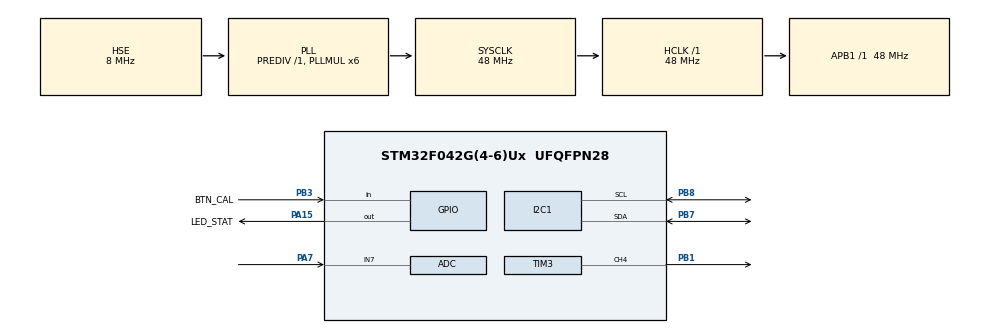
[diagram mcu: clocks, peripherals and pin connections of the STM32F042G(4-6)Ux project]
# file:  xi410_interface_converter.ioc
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I2C1.Timing=0x20303E5D
IWDG.Prescaler=IWDG_PRESCALER_128
IWDG.Reload=3125
IWDG.Window=3125
Mcu.Family=STM32F0
Mcu.Name=STM32F042G(4-6)Ux
Mcu.Package=UFQFPN28
PA13.Mode=Serial_Wire
PA13.Signal=SYS_SWDIO
PA14.Mode=Serial_Wire
PA14.Signal=SYS_SWCLK
PA15.GPIO_Label=LED_STAT
PA15.GPIO_ModeDefaultOutputPP=GPIO_MODE_OUTPUT_PP
PA15.GPIO_PuPd=GPIO_NOPULL
PA15.Signal=GPIO_Output
PA7.Mode=IN7
PA7.Signal=ADC_IN7
PB1.Signal=S_TIM3_CH4
PB3.GPIO_Label=BTN_CAL
PB3.GPIO_PuPd=GPIO_PULLUP
PB3.Signal=GPIO_Input
PB7.Mode=I2C
PB7.Signal=I2C1_SDA
PB8.Mode=I2C
PB8.Signal=I2C1_SCL
PF0-OSC_IN.Mode=HSE-External-Oscillator
PF0-OSC_IN.Signal=RCC_OSC_IN
PF1-OSC_OUT.Mode=HSE-External-Oscillator
PF1-OSC_OUT.Signal=RCC_OSC_OUT
ProjectManager.HeapSize=0x200
ProjectManager.StackSize=0x400
ProjectManager.TargetToolchain=Makefile
RCC.AHBFreq_Value=48000000
RCC.APB1Freq_Value=48000000
RCC.APB1TimFreq_Value=48000000
RCC.HCLKFreq_Value=48000000
RCC.I2c1ClockSelection=RCC_I2C1CLKSOURCE_SYSCLK
RCC.PLLMUL=RCC_PLL_MUL6
RCC.PLLSourceVirtual=RCC_PLLSOURCE_HSE
RCC.SYSCLKFreq_VALUE=48000000
RCC.SYSCLKSource=RCC_SYSCLKSOURCE_PLLCLK
SH.S_TIM3_CH4.0=TIM3_CH4,PWM Generation4 CH4
TIM3.AutoReloadPreload=TIM_AUTORELOAD_PRELOAD_ENABLE
TIM3.Channel-PWM\ Generation4\ CH4=TIM_CHANNEL_4
TIM3.ClockDivision=TIM_CLOCKDIVISION_DIV1
TIM3.OCFastMode_PWM-PWM\ Generation4\ CH4=TIM_OCFAST_DISABLE
TIM3.OCPolarity_4=TIM_OCPOLARITY_HIGH
TIM3.Period=1000
TIM3.Prescaler=47
TIM3.Pulse-PWM\ Generation4\ CH4=0
VP_IWDG_VS_IWDG.Mode=IWDG_Activate
board=custom

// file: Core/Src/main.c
/* USER CODE BEGIN Header */
/**
  ******************************************************************************
  * @file           : main.c
  * @brief          : Main program body
  ******************************************************************************
  * @attention
  *
  * Copyright (c) 2024 STMicroelectronics.
  * All rights reserved.
  *
  * This software is licensed under terms that can be found in the LICENSE file
  * in the root directory of this software component.
  * If no LICENSE file comes with this software, it is provided AS-IS.
  *
  ******************************************************************************
  */
/* USER CODE END Header */
#include "main.h"

ADC_HandleTypeDef hadc;

I2C_HandleTypeDef hi2c1;

/* USER CODE BEGIN PV */
ADT74X0 temp_sensor;
/* USER CODE END PV */

void SystemClock_Config(void);
static void MX_GPIO_Init(void);
static void MX_ADC_Init(void);
static void MX_I2C1_Init(void);
static void MX_TIM3_Init(void);
static void MX_IWDG_Init(void);
/* USER CODE BEGIN PFP */
static uint32_t isCalibButtonPressed();
/* USER CODE END PFP */

/* USER CODE BEGIN 0 */
enum ModeEnumTypeDef{
  MODE_RUN,
  MODE_CALIBRATION
} current_mode;
//ModeEnumTypeDef  = MODE_RUN;
//current_mode = MODE_RUN;
/* USER CODE END 0 */

int main(void)
{
  /* USER CODE BEGIN 1 */
  float current_temp = 0.0;
  uint32_t i = 0;
  uint32_t errorCount = 0;
  /* USER CODE END 1 */

  /* MCU Configuration--------------------------------------------------------*/

  /* Reset of all peripherals, Initializes the Flash interface and the Systick. */
  HAL_Init();

  /* Configure the system clock */
  SystemClock_Config();

  /* Initialize all configured peripherals */
  MX_GPIO_Init();
  MX_ADC_Init();
  MX_I2C1_Init();
  MX_TIM3_Init();
  MX_IWDG_Init();
  /* USER CODE BEGIN 2 */
  // if(isCalibButtonPressed())
  // {
  //   //prepare
  //   led_on();
  //   HAL_Delay(3000); //2s delay to indicate calibration mode
  //   led_off();

  //   while(!isCalibButtonPressed()) //the second press saves settings to FLASH
  //   {
  //     led_blink(300);
  //   }
  //   //save variable to FLASH

  for(i=0;i<3;i++)
  {
    led_blink(100);
  }

  init_pwm();
  if(isCalibButtonPressed())
  {
    run_calibration();
  }

  setDutyCycle(0);

  temp_sensor.adti2c = &hi2c1; // Your I2C Handler
  ADT74x0_Init(&temp_sensor, ADT74X0_DEVICE_ADDR); // I2C address depends of A0 and A1 pins
	ADT74x0_Reset(&temp_sensor); // Optional
	ADT74x0_SetResolution(&temp_sensor, ADT74X0_16BITS); // Put the device in 16 bits resolution

  //HAL_Delay(100);
  if(ADT74x0_Ready((ADT74X0 *)&temp_sensor))
  {
    ADT74x0_ReadTemp(&temp_sensor);
  }

  // }
  /* USER CODE END 2 */

  /* Infinite loop */
  while (1)
  {

    /* USER CODE BEGIN 3 */
    //LL_IWDG_ReloadCounter()
    LL_IWDG_ReloadCounter(IWDG);
    led_blink(1000);

    if(ADT74x0_Ready((ADT74X0 *)&temp_sensor))
    {
      if (ADT74x0_ReadTemp(&temp_sensor) != HAL_OK) {
	      //Error_Handler();
        //blink 10 times and reset
        for(i=0;i<10;i++)
        {
          led_blink(250);
        }
        //reset
        NVIC_SystemReset();
	    }
      else
      {
        //current_temp = temp_sensor.deg_data;
        //setDutyCycle(ADT74x0_TempToPWM(&temp_sensor));
        //-30..50degC
        //encoded in 32bits
        LL_TIM_OC_SetCompareCH4(PWM_TIMER,ADT74x0_TempToCounts(&temp_sensor)); //32bit value
      }

      //buff[0] = (current_temp>>8)&0xFF;
      //buff[1] = current_temp & 0xFF;
      //buff[2] = CRC8((uint8_t *)&buff,2); //checksum calculation
      //buff[3] = '\r';
      //CDC_Transmit_FS((uint8_t *)&buff,4);
    }
    else
    {
      errorCount++;
      led_blink(250);
    }

    if(errorCount>=10)
    {
      NVIC_SystemReset();
    }

    if(isCalibButtonPressed())
    {
      LL_mDelay(100);
      if(isCalibButtonPressed())
      {
        NVIC_SystemReset(); //will start with calibration on the next restart
        //run_calibration();
      }
    }

    //HAL_Delay(1000);
  }
  /* USER CODE END 3 */
}

void SystemClock_Config(void)
{
  RCC_OscInitTypeDef RCC_OscInitStruct = {0};
  RCC_ClkInitTypeDef RCC_ClkInitStruct = {0};
  RCC_PeriphCLKInitTypeDef PeriphClkInit = {0};

  /** Initializes the RCC Oscillators according to the specified parameters
  * in the RCC_OscInitTypeDef structure.
  */
  RCC_OscInitStruct.OscillatorType = RCC_OSCILLATORTYPE_HSI14|RCC_OSCILLATORTYPE_LSI
                              |RCC_OSCILLATORTYPE_HSE;
  RCC_OscInitStruct.HSEState = RCC_HSE_ON;
  RCC_OscInitStruct.HSI14State = RCC_HSI14_ON;
  RCC_OscInitStruct.HSI14CalibrationValue = 16;
  RCC_OscInitStruct.LSIState = RCC_LSI_ON;
  RCC_OscInitStruct.PLL.PLLState = RCC_PLL_ON;
  RCC_OscInitStruct.PLL.PLLSource = RCC_PLLSOURCE_HSE;
  RCC_OscInitStruct.PLL.PLLMUL = RCC_PLL_MUL6;
  RCC_OscInitStruct.PLL.PREDIV = RCC_PREDIV_DIV1;
  if (HAL_RCC_OscConfig(&RCC_OscInitStruct) != HAL_OK)
  {
    Error_Handler();
  }

  /** Initializes the CPU, AHB and APB buses clocks
  */
  RCC_ClkInitStruct.ClockType = RCC_CLOCKTYPE_HCLK|RCC_CLOCKTYPE_SYSCLK
                              |RCC_CLOCKTYPE_PCLK1;
  RCC_ClkInitStruct.SYSCLKSource = RCC_SYSCLKSOURCE_PLLCLK;
  RCC_ClkInitStruct.AHBCLKDivider = RCC_SYSCLK_DIV1;
  RCC_ClkInitStruct.APB1CLKDivider = RCC_HCLK_DIV1;

  if (HAL_RCC_ClockConfig(&RCC_ClkInitStruct, FLASH_LATENCY_1) != HAL_OK)
  {
    Error_Handler();
  }
  PeriphClkInit.PeriphClockSelection = RCC_PERIPHCLK_I2C1;
  PeriphClkInit.I2c1ClockSelection = RCC_I2C1CLKSOURCE_SYSCLK;
  if (HAL_RCCEx_PeriphCLKConfig(&PeriphClkInit) != HAL_OK)
  {
    Error_Handler();
  }
}

static void MX_ADC_Init(void)
{

  ADC_ChannelConfTypeDef sConfig = {0};

  /** Configure the global features of the ADC (Clock, Resolution, Data Alignment and number of conversion)
  */
  hadc.Instance = ADC1;
  hadc.Init.ClockPrescaler = ADC_CLOCK_ASYNC_DIV1;
  hadc.Init.Resolution = ADC_RESOLUTION_12B;
  hadc.Init.DataAlign = ADC_DATAALIGN_RIGHT;
  hadc.Init.ScanConvMode = ADC_SCAN_DIRECTION_FORWARD;
  hadc.Init.EOCSelection = ADC_EOC_SINGLE_CONV;
  hadc.Init.LowPowerAutoWait = DISABLE;
  hadc.Init.LowPowerAutoPowerOff = DISABLE;
  hadc.Init.ContinuousConvMode = DISABLE;
  hadc.Init.DiscontinuousConvMode = DISABLE;
  hadc.Init.ExternalTrigConv = ADC_SOFTWARE_START;
  hadc.Init.ExternalTrigConvEdge = ADC_EXTERNALTRIGCONVEDGE_NONE;
  hadc.Init.DMAContinuousRequests = DISABLE;
  hadc.Init.Overrun = ADC_OVR_DATA_PRESERVED;
  if (HAL_ADC_Init(&hadc) != HAL_OK)
  {
    Error_Handler();
  }

  /** Configure for the selected ADC regular channel to be converted.
  */
  sConfig.Channel = ADC_CHANNEL_7;
  sConfig.Rank = ADC_RANK_CHANNEL_NUMBER;
  sConfig.SamplingTime = ADC_SAMPLETIME_1CYCLE_5;
  if (HAL_ADC_ConfigChannel(&hadc, &sConfig) != HAL_OK)
  {
    Error_Handler();
  }

}

static void MX_I2C1_Init(void)
{

  hi2c1.Instance = I2C1;
  hi2c1.Init.Timing = 0x20303E5D;
  hi2c1.Init.OwnAddress1 = 0;
  hi2c1.Init.AddressingMode = I2C_ADDRESSINGMODE_7BIT;
  hi2c1.Init.DualAddressMode = I2C_DUALADDRESS_DISABLE;
  hi2c1.Init.OwnAddress2 = 0;
  hi2c1.Init.OwnAddress2Masks = I2C_OA2_NOMASK;
  hi2c1.Init.GeneralCallMode = I2C_GENERALCALL_DISABLE;
  hi2c1.Init.NoStretchMode = I2C_NOSTRETCH_DISABLE;
  if (HAL_I2C_Init(&hi2c1) != HAL_OK)
  {
    Error_Handler();
  }

  /** Configure Analogue filter
  */
  if (HAL_I2CEx_ConfigAnalogFilter(&hi2c1, I2C_ANALOGFILTER_ENABLE) != HAL_OK)
  {
    Error_Handler();
  }

  /** Configure Digital filter
  */
  if (HAL_I2CEx_ConfigDigitalFilter(&hi2c1, 0) != HAL_OK)
  {
    Error_Handler();
  }

}

static void MX_IWDG_Init(void)
{

  LL_IWDG_Enable(IWDG);
  LL_IWDG_EnableWriteAccess(IWDG);
  LL_IWDG_SetPrescaler(IWDG, LL_IWDG_PRESCALER_128);
  LL_IWDG_SetReloadCounter(IWDG, 3125);
  while (LL_IWDG_IsReady(IWDG) != 1)
  {
  }

  LL_IWDG_SetWindow(IWDG, 3125);

}

static void MX_TIM3_Init(void)
{

  LL_TIM_InitTypeDef TIM_InitStruct = {0};
  LL_TIM_OC_InitTypeDef TIM_OC_InitStruct = {0};

  LL_GPIO_InitTypeDef GPIO_InitStruct = {0};

  /* Peripheral clock enable */
  LL_APB1_GRP1_EnableClock(LL_APB1_GRP1_PERIPH_TIM3);

  TIM_InitStruct.Prescaler = 47;
  TIM_InitStruct.CounterMode = LL_TIM_COUNTERMODE_UP;
  TIM_InitStruct.Autoreload = 1000;
  TIM_InitStruct.ClockDivision = LL_TIM_CLOCKDIVISION_DIV1;
  LL_TIM_Init(TIM3, &TIM_InitStruct);
  LL_TIM_EnableARRPreload(TIM3);
  LL_TIM_OC_EnablePreload(TIM3, LL_TIM_CHANNEL_CH4);
  TIM_OC_InitStruct.OCMode = LL_TIM_OCMODE_PWM1;
  TIM_OC_InitStruct.OCState = LL_TIM_OCSTATE_DISABLE;
  TIM_OC_InitStruct.OCNState = LL_TIM_OCSTATE_DISABLE;
  TIM_OC_InitStruct.CompareValue = 0;
  TIM_OC_InitStruct.OCPolarity = LL_TIM_OCPOLARITY_HIGH;
  LL_TIM_OC_Init(TIM3, LL_TIM_CHANNEL_CH4, &TIM_OC_InitStruct);
  LL_TIM_OC_DisableFast(TIM3, LL_TIM_CHANNEL_CH4);
  LL_TIM_SetTriggerOutput(TIM3, LL_TIM_TRGO_RESET);
  LL_TIM_DisableMasterSlaveMode(TIM3);
  LL_AHB1_GRP1_EnableClock(LL_AHB1_GRP1_PERIPH_GPIOB);
  /**TIM3 GPIO Configuration
  PB1   ------> TIM3_CH4
  */
  GPIO_InitStruct.Pin = LL_GPIO_PIN_1;
  GPIO_InitStruct.Mode = LL_GPIO_MODE_ALTERNATE;
  GPIO_InitStruct.Speed = LL_GPIO_SPEED_FREQ_LOW;
  GPIO_InitStruct.OutputType = LL_GPIO_OUTPUT_PUSHPULL;
  GPIO_InitStruct.Pull = LL_GPIO_PULL_NO;
  GPIO_InitStruct.Alternate = LL_GPIO_AF_1;
  LL_GPIO_Init(GPIOB, &GPIO_InitStruct);

}

static void MX_GPIO_Init(void)
{
  LL_GPIO_InitTypeDef GPIO_InitStruct = {0};

  /* GPIO Ports Clock Enable */
  LL_AHB1_GRP1_EnableClock(LL_AHB1_GRP1_PERIPH_GPIOB);
  LL_AHB1_GRP1_EnableClock(LL_AHB1_GRP1_PERIPH_GPIOF);
  LL_AHB1_GRP1_EnableClock(LL_AHB1_GRP1_PERIPH_GPIOA);

  /**/
  LL_GPIO_ResetOutputPin(LED_STAT_GPIO_Port, LED_STAT_Pin);

  /**/
  GPIO_InitStruct.Pin = LED_STAT_Pin;
  GPIO_InitStruct.Mode = LL_GPIO_MODE_OUTPUT;
  GPIO_InitStruct.Speed = LL_GPIO_SPEED_FREQ_LOW;
  GPIO_InitStruct.OutputType = LL_GPIO_OUTPUT_PUSHPULL;
  GPIO_InitStruct.Pull = LL_GPIO_PULL_NO;
  LL_GPIO_Init(LED_STAT_GPIO_Port, &GPIO_InitStruct);

  /**/
  GPIO_InitStruct.Pin = BTN_CAL_Pin;
  GPIO_InitStruct.Mode = LL_GPIO_MODE_INPUT;
  GPIO_InitStruct.Pull = LL_GPIO_PULL_UP;
  LL_GPIO_Init(BTN_CAL_GPIO_Port, &GPIO_InitStruct);

}

/* USER CODE BEGIN 4 */
static uint32_t isCalibButtonPressed()
{
  return !LL_GPIO_IsInputPinSet(BTN_CAL_GPIO_Port, BTN_CAL_Pin);
  //return 0;
}
/* USER CODE END 4 */

void Error_Handler(void)
{
  __disable_irq();
  while (1)
  {
  }
}
